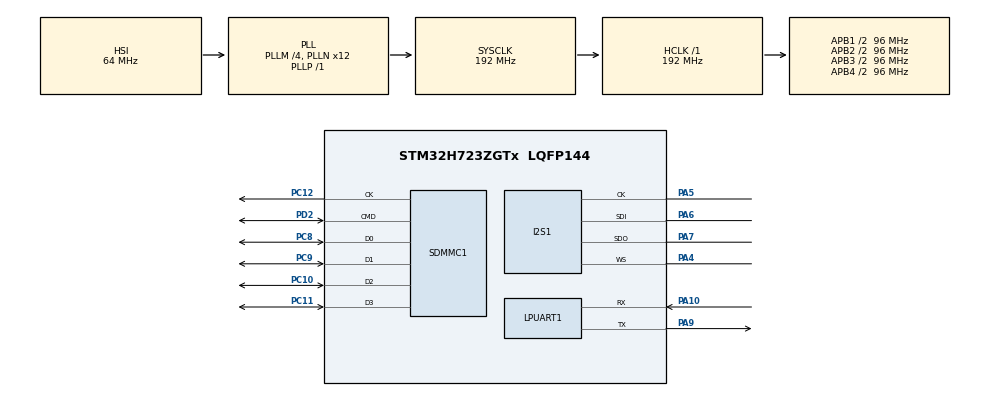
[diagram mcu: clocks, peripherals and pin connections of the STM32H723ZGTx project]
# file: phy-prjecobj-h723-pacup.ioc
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CORTEX_M7.default_mode_Activation=1
Dma.Request0=SPI1_TX
Dma.Request1=SPI1_RX
Dma.SPI1_RX.1.Direction=DMA_PERIPH_TO_MEMORY
Dma.SPI1_RX.1.EventEnable=DISABLE
Dma.SPI1_RX.1.FIFOMode=DMA_FIFOMODE_DISABLE
Dma.SPI1_RX.1.Instance=DMA1_Stream1
Dma.SPI1_RX.1.MemDataAlignment=DMA_MDATAALIGN_WORD
Dma.SPI1_RX.1.MemInc=DMA_MINC_ENABLE
Dma.SPI1_RX.1.Mode=DMA_CIRCULAR
Dma.SPI1_RX.1.PeriphDataAlignment=DMA_PDATAALIGN_WORD
Dma.SPI1_RX.1.PeriphInc=DMA_PINC_DISABLE
Dma.SPI1_RX.1.Polarity=HAL_DMAMUX_REQ_GEN_RISING
Dma.SPI1_RX.1.Priority=DMA_PRIORITY_LOW
Dma.SPI1_RX.1.RequestNumber=1
Dma.SPI1_RX.1.SignalID=NONE
Dma.SPI1_RX.1.SyncEnable=DISABLE
Dma.SPI1_RX.1.SyncPolarity=HAL_DMAMUX_SYNC_NO_EVENT
Dma.SPI1_RX.1.SyncRequestNumber=1
Dma.SPI1_RX.1.SyncSignalID=NONE
Dma.SPI1_TX.0.Direction=DMA_MEMORY_TO_PERIPH
Dma.SPI1_TX.0.EventEnable=DISABLE
Dma.SPI1_TX.0.FIFOMode=DMA_FIFOMODE_DISABLE
Dma.SPI1_TX.0.Instance=DMA1_Stream0
Dma.SPI1_TX.0.MemDataAlignment=DMA_MDATAALIGN_WORD
Dma.SPI1_TX.0.MemInc=DMA_MINC_ENABLE
Dma.SPI1_TX.0.Mode=DMA_CIRCULAR
Dma.SPI1_TX.0.PeriphDataAlignment=DMA_PDATAALIGN_WORD
Dma.SPI1_TX.0.PeriphInc=DMA_PINC_DISABLE
Dma.SPI1_TX.0.Polarity=HAL_DMAMUX_REQ_GEN_RISING
Dma.SPI1_TX.0.Priority=DMA_PRIORITY_LOW
Dma.SPI1_TX.0.RequestNumber=1
Dma.SPI1_TX.0.SignalID=NONE
Dma.SPI1_TX.0.SyncEnable=DISABLE
Dma.SPI1_TX.0.SyncPolarity=HAL_DMAMUX_SYNC_NO_EVENT
Dma.SPI1_TX.0.SyncRequestNumber=1
Dma.SPI1_TX.0.SyncSignalID=NONE
FATFS._MAX_SS=4096
FATFS._USE_LFN=1
I2S1.AudioFreq=I2S_AUDIOFREQ_32K
I2S1.DataFormat=I2S_DATAFORMAT_24B
I2S1.ErrorAudioFreq=1.9 %
I2S1.Instance=SPI$Index
I2S1.RealAudioFreq=32.608 KHz
Mcu.Family=STM32H7
Mcu.Name=STM32H723ZGTx
Mcu.Package=LQFP144
NVIC.DMA1_Stream0_IRQn=true\:0\:0\:false\:false\:true\:false\:true\:true
NVIC.DMA1_Stream1_IRQn=true\:0\:0\:false\:false\:true\:false\:true\:true
NVIC.PriorityGroup=NVIC_PRIORITYGROUP_4
PA10.Mode=Asynchronous
PA10.Signal=LPUART1_RX
PA13(JTMS/SWDIO).Mode=Serial_Wire
PA13(JTMS/SWDIO).Signal=DEBUG_JTMS-SWDIO
PA14(JTCK/SWCLK).Mode=Serial_Wire
PA14(JTCK/SWCLK).Signal=DEBUG_JTCK-SWCLK
PA4.Mode=Full_Duplex_Master
PA4.Signal=I2S1_WS
PA5.Mode=Full_Duplex_Master
PA5.Signal=I2S1_CK
PA6.Mode=Full_Duplex_Master
PA6.Signal=I2S1_SDI
PA7.Mode=Full_Duplex_Master
PA7.Signal=I2S1_SDO
PA9.Mode=Asynchronous
PA9.Signal=LPUART1_TX
PC10.Mode=SD_4_bits_Wide_bus
PC10.Signal=SDMMC1_D2
PC11.Mode=SD_4_bits_Wide_bus
PC11.Signal=SDMMC1_D3
PC12.Mode=SD_4_bits_Wide_bus
PC12.Signal=SDMMC1_CK
PC14-OSC32_IN.Mode=LSE-External-Oscillator
PC14-OSC32_IN.Signal=RCC_OSC32_IN
PC15-OSC32_OUT.Mode=LSE-External-Oscillator
PC15-OSC32_OUT.Signal=RCC_OSC32_OUT
PC8.Mode=SD_4_bits_Wide_bus
PC8.Signal=SDMMC1_D0
PC9.Mode=SD_4_bits_Wide_bus
PC9.Signal=SDMMC1_D1
PD2.Mode=SD_4_bits_Wide_bus
PD2.Signal=SDMMC1_CMD
PH0-OSC_IN.Mode=HSE-External-Oscillator
PH0-OSC_IN.Signal=RCC_OSC_IN
PH1-OSC_OUT.Mode=HSE-External-Oscillator
PH1-OSC_OUT.Signal=RCC_OSC_OUT
ProjectManager.HeapSize=0x200
ProjectManager.StackSize=0x400
ProjectManager.TargetToolchain=STM32CubeIDE
RCC.ADCFreq_Value=129000000
RCC.APB1Freq_Value=96000000
RCC.APB2Freq_Value=96000000
RCC.APB3Freq_Value=96000000
RCC.APB4Freq_Value=96000000
RCC.CortexFreq_Value=192000000
RCC.D1PPRE=RCC_APB3_DIV2
RCC.D2PPRE1=RCC_APB1_DIV2
RCC.D2PPRE2=RCC_APB2_DIV2
RCC.D3PPRE=RCC_APB4_DIV2
RCC.DIVM1=4
RCC.DIVN1=12
RCC.DIVP1=1
RCC.DIVQ1=4
RCC.HCLKFreq_Value=192000000
RCC.PLL2FRACN=0
RCC.PLL3FRACN=0
RCC.PLLFRACN=0
RCC.SYSCLKFreq_VALUE=192000000
RCC.SYSCLKSource=RCC_SYSCLKSOURCE_PLLCLK
RCC.USBFreq_Value=48000000
SDMMC1.ClockDiv=8
VP_FATFS_VS_SDIO.Mode=SDIO
VP_MEMORYMAP_VS_MEMORYMAP.Mode=CurAppReg
board=custom

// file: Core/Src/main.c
/* USER CODE BEGIN Header */
/**
  ******************************************************************************
  * @file           : main.c
  * @brief          : Main program body
  ******************************************************************************
  * @attention
  *
  * Copyright (c) 2026 STMicroelectronics.
  * All rights reserved.
  *
  * This software is licensed under terms that can be found in the LICENSE file
  * in the root directory of this software component.
  * If no LICENSE file comes with this software, it is provided AS-IS.
  *
  ******************************************************************************
  */
/* USER CODE END Header */
#include "main.h"
#include "fatfs.h"
#include <stdio.h>
#include <string.h>

/* USER CODE BEGIN PD */
#define I2S_SAMPLE_RATE        32000U
#define RECORDING_SECONDS      10U
#define RECORDING_SAMPLES      (I2S_SAMPLE_RATE * RECORDING_SECONDS)
#define RECORDING_RAW_SAMPLES  (RECORDING_SAMPLES * 2U)
#define I2S_DMA_SAMPLES        2048U
#define I2S_DMA_HALF_SAMPLES   (I2S_DMA_SAMPLES / 2U)
#define UART_TX_TIMEOUT_MS     100U
#define UART_CONSOLE_BUFFER_SIZE 1024U
#define UART_SAMPLE_DECIMATION 32U

/* USER CODE END PD */

I2S_HandleTypeDef hi2s1;
DMA_HandleTypeDef hdma_spi1_tx;
DMA_HandleTypeDef hdma_spi1_rx;

UART_HandleTypeDef hlpuart1;

SD_HandleTypeDef hsd1;

/* USER CODE BEGIN PV */
/* DMA1 can access D2 SRAM; the linker places this section at 0x30000000. */
__attribute__((section(".dma_buffer"), aligned(32)))
static uint32_t i2s_tx_silence[I2S_DMA_SAMPLES];
__attribute__((section(".dma_buffer"), aligned(32)))
static uint32_t i2s_rx_buffer[I2S_DMA_SAMPLES];

static volatile uint32_t i2s_ready_mask;
static volatile uint32_t i2s_dma_error;

/* USER CODE END PV */

void SystemClock_Config(void);
static void MPU_Config(void);
static void MX_GPIO_Init(void);
static void MX_DMA_Init(void);
static void MX_I2S1_Init(void);
static void MX_LPUART1_UART_Init(void);
static void MX_SDMMC1_SD_Init(void);
/* USER CODE BEGIN PFP */
static void RecordI2S10Seconds(void);
static void ProcessI2SBlock(const uint32_t *samples, uint32_t count,
                            FIL *file, uint32_t *sample_index);
static int32_t DecodeI2S24(uint32_t raw_sample);
static void TransmitUartText(const char *text, uint16_t length);

/* USER CODE END PFP */

/* USER CODE BEGIN 0 */
void HAL_I2SEx_TxRxHalfCpltCallback(I2S_HandleTypeDef *hi2s)
{
  if (hi2s == &hi2s1)
  {
    i2s_ready_mask |= 1U;
  }
}

void HAL_I2SEx_TxRxCpltCallback(I2S_HandleTypeDef *hi2s)
{
  if (hi2s == &hi2s1)
  {
    i2s_ready_mask |= 2U;
  }
}

void HAL_I2S_ErrorCallback(I2S_HandleTypeDef *hi2s)
{
  if (hi2s == &hi2s1)
  {
    i2s_dma_error = 1U;
  }
}

/* USER CODE END 0 */

int main(void)
{

  /* MPU Configuration--------------------------------------------------------*/
  MPU_Config();

  /* MCU Configuration--------------------------------------------------------*/

  /* Reset of all peripherals, Initializes the Flash interface and the Systick. */
  HAL_Init();

  /* Configure the system clock */
  SystemClock_Config();

  /* Initialize all configured peripherals */
  MX_GPIO_Init();
  MX_DMA_Init();
  MX_I2S1_Init();
  MX_LPUART1_UART_Init();
  {
    static const char uart_banner[] = "UART OK - 115200 8N1\r\n";
    TransmitUartText(uart_banner, (uint16_t)(sizeof(uart_banner) - 1U));
  }
  MX_SDMMC1_SD_Init();
  MX_FATFS_Init();
  /* USER CODE BEGIN 2 */
  RecordI2S10Seconds();

  /* USER CODE END 2 */

  /* Infinite loop */
  while (1)
  {

  }
}

void SystemClock_Config(void)
{
  RCC_OscInitTypeDef RCC_OscInitStruct = {0};
  RCC_ClkInitTypeDef RCC_ClkInitStruct = {0};

  /** Supply configuration update enable
  */
  HAL_PWREx_ConfigSupply(PWR_LDO_SUPPLY);

  /** Configure the main internal regulator output voltage
  */
  __HAL_PWR_VOLTAGESCALING_CONFIG(PWR_REGULATOR_VOLTAGE_SCALE1);

  while(!__HAL_PWR_GET_FLAG(PWR_FLAG_VOSRDY)) {}

  /** Initializes the RCC Oscillators according to the specified parameters
  * in the RCC_OscInitTypeDef structure.
  */
  RCC_OscInitStruct.OscillatorType = RCC_OSCILLATORTYPE_HSI;
  RCC_OscInitStruct.HSIState = RCC_HSI_DIV1;
  RCC_OscInitStruct.HSICalibrationValue = 64;
  RCC_OscInitStruct.PLL.PLLState = RCC_PLL_ON;
  RCC_OscInitStruct.PLL.PLLSource = RCC_PLLSOURCE_HSI;
  RCC_OscInitStruct.PLL.PLLM = 4;
  RCC_OscInitStruct.PLL.PLLN = 12;
  RCC_OscInitStruct.PLL.PLLP = 1;
  RCC_OscInitStruct.PLL.PLLQ = 4;
  RCC_OscInitStruct.PLL.PLLR = 2;
  RCC_OscInitStruct.PLL.PLLRGE = RCC_PLL1VCIRANGE_3;
  RCC_OscInitStruct.PLL.PLLVCOSEL = RCC_PLL1VCOWIDE;
  RCC_OscInitStruct.PLL.PLLFRACN = 0;
  if (HAL_RCC_OscConfig(&RCC_OscInitStruct) != HAL_OK)
  {
    Error_Handler();
  }

  /** Initializes the CPU, AHB and APB buses clocks
  */
  RCC_ClkInitStruct.ClockType = RCC_CLOCKTYPE_HCLK|RCC_CLOCKTYPE_SYSCLK
                              |RCC_CLOCKTYPE_PCLK1|RCC_CLOCKTYPE_PCLK2
                              |RCC_CLOCKTYPE_D3PCLK1|RCC_CLOCKTYPE_D1PCLK1;
  RCC_ClkInitStruct.SYSCLKSource = RCC_SYSCLKSOURCE_PLLCLK;
  RCC_ClkInitStruct.SYSCLKDivider = RCC_SYSCLK_DIV1;
  RCC_ClkInitStruct.AHBCLKDivider = RCC_HCLK_DIV1;
  RCC_ClkInitStruct.APB3CLKDivider = RCC_APB3_DIV2;
  RCC_ClkInitStruct.APB1CLKDivider = RCC_APB1_DIV2;
  RCC_ClkInitStruct.APB2CLKDivider = RCC_APB2_DIV2;
  RCC_ClkInitStruct.APB4CLKDivider = RCC_APB4_DIV2;

  if (HAL_RCC_ClockConfig(&RCC_ClkInitStruct, FLASH_LATENCY_2) != HAL_OK)
  {
    Error_Handler();
  }
}

static void MX_I2S1_Init(void)
{

  hi2s1.Instance = SPI1;
  hi2s1.Init.Mode = I2S_MODE_MASTER_FULLDUPLEX;
  hi2s1.Init.Standard = I2S_STANDARD_PHILIPS;
  hi2s1.Init.DataFormat = I2S_DATAFORMAT_24B;
  hi2s1.Init.MCLKOutput = I2S_MCLKOUTPUT_DISABLE;
  hi2s1.Init.AudioFreq = I2S_AUDIOFREQ_32K;
  hi2s1.Init.CPOL = I2S_CPOL_LOW;
  hi2s1.Init.FirstBit = I2S_FIRSTBIT_MSB;
  hi2s1.Init.WSInversion = I2S_WS_INVERSION_DISABLE;
  hi2s1.Init.Data24BitAlignment = I2S_DATA_24BIT_ALIGNMENT_RIGHT;
  hi2s1.Init.MasterKeepIOState = I2S_MASTER_KEEP_IO_STATE_DISABLE;
  if (HAL_I2S_Init(&hi2s1) != HAL_OK)
  {
    Error_Handler();
  }

}

static void MX_LPUART1_UART_Init(void)
{

  hlpuart1.Instance = LPUART1;
  hlpuart1.Init.BaudRate = 115200;
  hlpuart1.Init.WordLength = UART_WORDLENGTH_8B;
  hlpuart1.Init.StopBits = UART_STOPBITS_1;
  hlpuart1.Init.Parity = UART_PARITY_NONE;
  hlpuart1.Init.Mode = UART_MODE_TX_RX;
  hlpuart1.Init.HwFlowCtl = UART_HWCONTROL_NONE;
  hlpuart1.Init.OneBitSampling = UART_ONE_BIT_SAMPLE_DISABLE;
  hlpuart1.Init.ClockPrescaler = UART_PRESCALER_DIV1;
  hlpuart1.AdvancedInit.AdvFeatureInit = UART_ADVFEATURE_NO_INIT;
  hlpuart1.FifoMode = UART_FIFOMODE_DISABLE;
  if (HAL_UART_Init(&hlpuart1) != HAL_OK)
  {
    Error_Handler();
  }
  if (HAL_UARTEx_SetTxFifoThreshold(&hlpuart1, UART_TXFIFO_THRESHOLD_1_8) != HAL_OK)
  {
    Error_Handler();
  }
  if (HAL_UARTEx_SetRxFifoThreshold(&hlpuart1, UART_RXFIFO_THRESHOLD_1_8) != HAL_OK)
  {
    Error_Handler();
  }
  if (HAL_UARTEx_DisableFifoMode(&hlpuart1) != HAL_OK)
  {
    Error_Handler();
  }

}

static void MX_SDMMC1_SD_Init(void)
{

  hsd1.Instance = SDMMC1;
  hsd1.Init.ClockEdge = SDMMC_CLOCK_EDGE_RISING;
  hsd1.Init.ClockPowerSave = SDMMC_CLOCK_POWER_SAVE_DISABLE;
  hsd1.Init.BusWide = SDMMC_BUS_WIDE_4B;
  hsd1.Init.HardwareFlowControl = SDMMC_HARDWARE_FLOW_CONTROL_DISABLE;
  hsd1.Init.ClockDiv = 8;
  if (HAL_SD_Init(&hsd1) != HAL_OK)
  {
    Error_Handler();
  }

}

static void MX_DMA_Init(void)
{

  /* DMA controller clock enable */
  __HAL_RCC_DMA1_CLK_ENABLE();

  /* DMA interrupt init */
  /* DMA1_Stream0_IRQn interrupt configuration */
  HAL_NVIC_SetPriority(DMA1_Stream0_IRQn, 0, 0);
  HAL_NVIC_EnableIRQ(DMA1_Stream0_IRQn);
  /* DMA1_Stream1_IRQn interrupt configuration */
  HAL_NVIC_SetPriority(DMA1_Stream1_IRQn, 0, 0);
  HAL_NVIC_EnableIRQ(DMA1_Stream1_IRQn);

}

static void MX_GPIO_Init(void)
{

  /* GPIO Ports Clock Enable */
  __HAL_RCC_GPIOC_CLK_ENABLE();
  __HAL_RCC_GPIOH_CLK_ENABLE();
  __HAL_RCC_GPIOA_CLK_ENABLE();
  __HAL_RCC_GPIOD_CLK_ENABLE();

}

/* USER CODE BEGIN 4 */
static int32_t DecodeI2S24(uint32_t raw_sample)
{
  int32_t sample = (int32_t)(raw_sample & 0x00FFFFFFU);

  if ((sample & 0x00800000L) != 0)
  {
    sample |= (int32_t)0xFF000000L;
  }

  return sample;
}

static void TransmitUartText(const char *text, uint16_t length)
{
  if (HAL_UART_Transmit(&hlpuart1, (const uint8_t *)text, length,
                        UART_TX_TIMEOUT_MS) != HAL_OK)
  {
    Error_Handler();
  }
}

static void ProcessI2SBlock(const uint32_t *samples, uint32_t count,
                            FIL *file, uint32_t *sample_index)
{
  static char csv_buffer[20480];
  static int32_t mono_audio[I2S_DMA_HALF_SAMPLES / 2U];
  char text_buffer[UART_CONSOLE_BUFFER_SIZE];
  UINT csv_length = 0U;
  uint16_t text_length = 0U;
  UINT bytes_written = 0U;
  uint32_t mono_count = 0U;

  for (uint32_t index = 0U; index < count; index += 2U)
  {
    int32_t sample = DecodeI2S24(samples[index]);
    mono_audio[mono_count++] = sample;
  }

  for (uint32_t index = 0U; index < mono_count; ++index)
  {
    int32_t sample = mono_audio[index];
    int written = snprintf(&csv_buffer[csv_length],
                           sizeof(csv_buffer) - csv_length,
                           "%lu,%ld\r\n",
                           (unsigned long)*sample_index, (long)sample);
    if ((written < 0) || ((UINT)written >= (sizeof(csv_buffer) - csv_length)))
    {
      Error_Handler();
    }
    csv_length += (UINT)written;

    /*
     * Only transmit printable ASCII. Sending the raw I2S word here would
     * make the UART terminal decode arbitrary bytes as replacement characters.
     */
    if (((*sample_index % UART_SAMPLE_DECIMATION) == 0U))
    {
      int text_written = snprintf(&text_buffer[text_length],
                                  sizeof(text_buffer) - text_length,
                                  "[%06lu] %ld\r\n",
                                  (unsigned long)*sample_index,
                                  (long)sample);
      if ((text_written < 0) ||
          ((uint16_t)text_written >= (sizeof(text_buffer) - text_length)))
      {
        Error_Handler();
      }

      text_length += (uint16_t)text_written;
      if (text_length > (sizeof(text_buffer) - 32U))
      {
        TransmitUartText(text_buffer, text_length);
        text_length = 0U;
      }
    }

    (*sample_index)++;
  }

  if (text_length != 0U)
  {
    TransmitUartText(text_buffer, text_length);
  }

  if ((f_write(file, csv_buffer, csv_length, &bytes_written) != FR_OK) ||
      (bytes_written != csv_length))
  {
    Error_Handler();
  }
}

static void RecordI2S10Seconds(void)
{
  char file_path[24];
  uint32_t sample_index = 0U;
  FRESULT result;

  if (retSD != 0U)
  {
    Error_Handler();
  }

  result = f_mount(&SDFatFS, (TCHAR const *)SDPath, 1U);
  if (result != FR_OK)
  {
    Error_Handler();
  }

  (void)snprintf(file_path, sizeof(file_path), "%si2s_32k_10s.csv", SDPath);
  result = f_open(&SDFile, file_path, FA_CREATE_ALWAYS | FA_WRITE);
  if (result != FR_OK)
  {
    Error_Handler();
  }

  {
    static const char header[] = "sample_index,sample_24bit\r\n";
    UINT bytes_written = 0U;
    if ((f_write(&SDFile, header, sizeof(header) - 1U, &bytes_written) != FR_OK) ||
        (bytes_written != sizeof(header) - 1U))
    {
      Error_Handler();
    }
  }

  {
    static const char console_header[] =
        "\r\n=== INMP441 I2S capture ===\r\n"
        "index    signed decimal\r\n";
    TransmitUartText(console_header, (uint16_t)(sizeof(console_header) - 1U));
  }

  memset(i2s_tx_silence, 0, sizeof(i2s_tx_silence));
  i2s_ready_mask = 0U;
  i2s_dma_error = 0U;
  if (HAL_I2SEx_TransmitReceive_DMA(&hi2s1, (const uint16_t *)i2s_tx_silence,
                                    (uint16_t *)i2s_rx_buffer,
                                    I2S_DMA_SAMPLES) != HAL_OK)
  {
    Error_Handler();
  }

  while (sample_index < RECORDING_SAMPLES)
  {
    uint32_t ready = i2s_ready_mask;
    if (i2s_dma_error != 0U)
    {
      Error_Handler();
    }

    if ((ready & 1U) != 0U)
    {
      i2s_ready_mask &= ~1U;
      uint32_t raw_sample_index = sample_index * 2U;
      uint32_t count = RECORDING_RAW_SAMPLES - raw_sample_index;
      if (count > I2S_DMA_HALF_SAMPLES)
      {
        count = I2S_DMA_HALF_SAMPLES;
      }
      ProcessI2SBlock(i2s_rx_buffer, count, &SDFile, &sample_index);
    }
    else if ((ready & 2U) != 0U)
    {
      i2s_ready_mask &= ~2U;
      uint32_t raw_sample_index = sample_index * 2U;
      uint32_t count = RECORDING_RAW_SAMPLES - raw_sample_index;
      if (count > I2S_DMA_HALF_SAMPLES)
      {
        count = I2S_DMA_HALF_SAMPLES;
      }
      ProcessI2SBlock(&i2s_rx_buffer[I2S_DMA_HALF_SAMPLES], count,
                      &SDFile, &sample_index);
    }
  }

  (void)HAL_I2S_DMAStop(&hi2s1);
  if (f_sync(&SDFile) != FR_OK)
  {
    Error_Handler();
  }
  if (f_close(&SDFile) != FR_OK)
  {
    Error_Handler();
  }
  (void)f_mount(NULL, (TCHAR const *)SDPath, 0U);

  {
    static const char console_footer[] =
        "=== capture complete ===\r\n";
    TransmitUartText(console_footer, (uint16_t)(sizeof(console_footer) - 1U));
  }
}

/* USER CODE END 4 */

 /* MPU Configuration */

void MPU_Config(void)
{
  MPU_Region_InitTypeDef MPU_InitStruct = {0};

  /* Disables the MPU */
  HAL_MPU_Disable();

  /** Initializes and configures the Region and the memory to be protected
  */
  MPU_InitStruct.Enable = MPU_REGION_ENABLE;
  MPU_InitStruct.Number = MPU_REGION_NUMBER0;
  MPU_InitStruct.BaseAddress = 0x0;
  MPU_InitStruct.Size = MPU_REGION_SIZE_4GB;
  MPU_InitStruct.SubRegionDisable = 0x87;
  MPU_InitStruct.TypeExtField = MPU_TEX_LEVEL0;
  MPU_InitStruct.AccessPermission = MPU_REGION_NO_ACCESS;
  MPU_InitStruct.DisableExec = MPU_INSTRUCTION_ACCESS_DISABLE;
  MPU_InitStruct.IsShareable = MPU_ACCESS_SHAREABLE;
  MPU_InitStruct.IsCacheable = MPU_ACCESS_NOT_CACHEABLE;
  MPU_InitStruct.IsBufferable = MPU_ACCESS_NOT_BUFFERABLE;

  HAL_MPU_ConfigRegion(&MPU_InitStruct);
  /* Enables the MPU */
  HAL_MPU_Enable(MPU_PRIVILEGED_DEFAULT);

}

void Error_Handler(void)
{
  __disable_irq();
  while (1)
  {
  }
}
